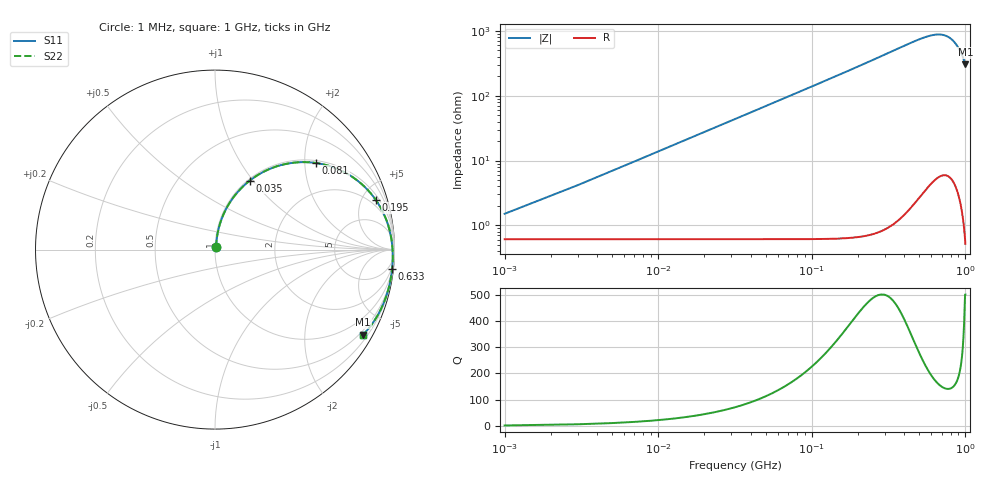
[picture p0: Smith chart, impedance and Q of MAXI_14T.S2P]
! Coilcraft 132-14SM_ Maxi Spring Air Core Inductor
! 28 May 2003
# MHZ S MA R 50
!Freq  MagS11  AngS11  MagS21  AngS21  MagS12  AngS12  MagS22  AngS22
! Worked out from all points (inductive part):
!   501 points, 1 MHz to 1 GHz, reference 50 ohm
!   read as one part in series: L = 220 nH near 5 MHz
!   highest Q = 589 at 1 GHz (marker M1), where L = 48.5 nH
!   S11 on the Smith chart (normalised r, x): 1 MHz: 1.01, +0.03; 35 MHz: 1.02, +0.96; 81 MHz: 1.06, +2.28; 195 MHz: 1.38, +6.35; 633 MHz: 1, -18; 1 GHz: 0.37, -3.72
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1  0.01488 65.1  0.9938 -0.8  0.9938 -0.8  0.01489 65.1
3  0.04118 79.1  0.9931 -2.4  0.9931 -2.4  0.04119 79.1
7  0.09487 80.8  0.9895 -5.5  0.9895 -5.5  0.0949 80.8
9  0.1215 80.0  0.9866 -7.1  0.9866 -7.1  0.1216 80.0
13  0.1741 77.8  0.9788 -10.2  0.9788 -10.2  0.1741 77.8
17  0.2252 75.2  0.9684 -13.3  0.9684 -13.3  0.2252 75.2
23  0.2984 71.2  0.9486 -17.7  0.9486 -17.7  0.2985 71.2
35  0.4297 63.3  0.8975 -26.0  0.8975 -26.0  0.4298 63.3
55  0.5993 51.9  0.7956 -37.7  0.7956 -37.7  0.5994 51.9
81  0.7414 40.6  0.6669 -49.1  0.6669 -49.1  0.7416 40.6
119  0.8524 29.5  0.5196 -60.3  0.5196 -60.3  0.8526 29.5
169  0.9191 20.4  0.3912 -69.4  0.3912 -69.4  0.9193 20.4
195  0.9379 17.1  0.3442 -72.8  0.3442 -72.8  0.9382 17.1
255  0.9631 11.4  0.2666 -78.4  0.2666 -78.4  0.9634 11.4
335  0.9788 6.2  0.2021 -83.7  0.2021 -83.7  0.979 6.2
501  0.9903 -1.3  0.134 -91.1  0.134 -91.1  0.9905 -1.3
633  0.9926 -6.3  0.1137 -96.0  0.1137 -96.0  0.9928 -6.3
667  0.9926 -7.6  0.1125 -97.3  0.1125 -97.3  0.9929 -7.6
753  0.9917 -11.2  0.1182 -100.8  0.1182 -100.8  0.9919 -11.2
835  0.9886 -15.3  0.1396 -104.9  0.1396 -104.9  0.9888 -15.3
919  0.9797 -21.0  0.1902 -110.7  0.1902 -110.7  0.9799 -21.0
1000  0.9517 -29.9  0.2978 -119.7  0.2978 -119.7  0.9519 -29.9
